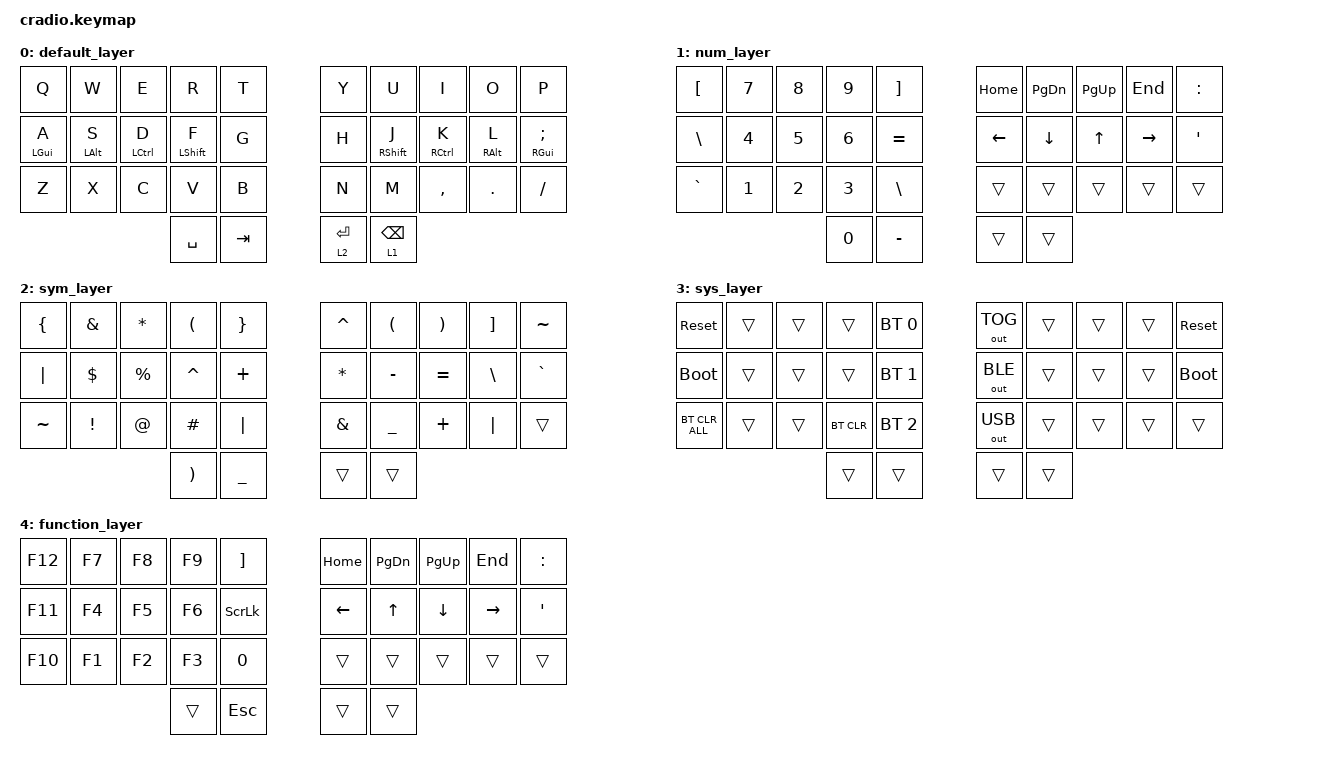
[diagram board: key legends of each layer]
// Copyright (c) 2022 The ZMK Contributors
// SPDX-License-Identifier: MIT

#include <behaviors.dtsi>
#include <dt-bindings/zmk/bt.h>
#include <dt-bindings/zmk/keys.h>
#include <dt-bindings/zmk/outputs.h>

// Layers

#define NUM_L 1
#define SYM_L 2

&lt { quick-tap-ms = <150>; };

/ {
    behaviors {
        // Left-hand home row mods — trigger only on right-hand keypress
        hml: left_hold_tap {
            compatible = "zmk,behavior-hold-tap";
            #binding-cells = <2>;
            flavor = "balanced";
            tapping-term-ms = <220>;
            quick-tap-ms = <150>;
            require-prior-idle-ms = <100>;
            bindings = <&kp>, <&kp>;
            hold-trigger-key-positions = <5 6 7 8 9 15 16 17 18 19 25 26 27 28 29 30 31 32 33>;
            hold-trigger-on-release;
        };

        // Right-hand home row mods — trigger only on left-hand keypress
        hmr: right_hold_tap {
            compatible = "zmk,behavior-hold-tap";
            #binding-cells = <2>;
            flavor = "balanced";
            tapping-term-ms = <220>;
            quick-tap-ms = <150>;
            require-prior-idle-ms = <100>;
            bindings = <&kp>, <&kp>;
            hold-trigger-key-positions = <0 1 2 3 4 10 11 12 13 14 20 21 22 23 24 30 31 32 33>;
            hold-trigger-on-release;
        };
    };

    conditional_layers {
        compatible = "zmk,conditional-layers";

        fn_layer {
            if-layers = <1 2>;
            then-layer = <4>;
        };
    };

    combos {
        compatible = "zmk,combos";

        cap_word {
            bindings = <&caps_word>;
            key-positions = <13 16>;
        };

        quote {
            bindings = <&kp SINGLE_QUOTE>;
            key-positions = <30 33>;
        };

        esc_default_layer {
            bindings = <&kp ESCAPE>;
            key-positions = <30 24>;
            layers = <0>;
        };

        lpar_sym {
            bindings = <&kp LEFT_PARENTHESIS>;
            key-positions = <30 24>;
            layers = <2>;
        };

        bt_layer {
            bindings = <&sl 3>;
            key-positions = <0 9>;
            layers = <0>;
        };

        delete {
            bindings = <&kp DELETE>;
            key-positions = <33 25>;
            layers = <0>;
        };

        prevent_accidental_quit {
            bindings = <&none>;
            key-positions = <0 10>;
            layers = <0>;
        };
    };

    keymap {
        compatible = "zmk,keymap";

        default_layer {
            bindings = <
&kp Q       &kp W       &kp E        &kp R         &kp T      &kp Y        &kp U              &kp I        &kp O            &kp P
&hml LGUI A  &hml LALT S  &hml LCTRL D  &hml LSHIFT F  &kp G      &kp H        &hmr RIGHT_SHIFT J  &hmr RCTRL K  &hmr RIGHT_ALT L  &hmr RIGHT_GUI SEMI
&kp Z       &kp X       &kp C        &kp V         &kp B      &kp N        &kp M              &kp COMMA    &kp DOT          &kp FSLH
                                     &kp SPACE     &kp TAB    &lt 2 ENTER  &lt 1 BSPC
            >;
        };

        num_layer {
            bindings = <
&kp LBKT       &kp N7  &kp N8  &kp N9        &kp RBKT         &kp HOME  &kp PG_DN  &kp PG_UP  &kp END    &kp COLON
&kp BACKSLASH  &kp N4  &kp N5  &kp N6        &kp EQUAL        &kp LEFT  &kp DOWN   &kp UP     &kp RIGHT  &kp SQT
&kp GRAVE      &kp N1  &kp N2  &kp N3        &kp BACKSLASH    &trans    &trans     &trans     &trans     &trans
                               &kp NUMBER_0  &kp MINUS        &trans    &trans
            >;
        };

        sym_layer {
            bindings = <
&kp LBRC   &kp AMPS  &kp ASTRK  &kp LPAR               &kp RBRC          &kp CARET  &kp LPAR   &kp RPAR   &kp RBKT  &kp TILDE
&kp PIPE   &kp DLLR  &kp PRCNT  &kp CARET              &kp PLUS          &kp ASTRK  &kp MINUS  &kp EQUAL  &kp BSLH  &kp GRAVE
&kp TILDE  &kp EXCL  &kp AT     &kp HASH               &kp PIPE          &kp AMPS   &kp UNDER  &kp PLUS   &kp PIPE  &trans
                                &kp RIGHT_PARENTHESIS  &kp UNDERSCORE    &trans     &trans
            >;
        };

        sys_layer {
            bindings = <
&sys_reset      &trans  &trans  &trans      &bt BT_SEL 0    &out OUT_TOG  &trans  &trans  &trans  &sys_reset
&bootloader     &trans  &trans  &trans      &bt BT_SEL 1    &out OUT_BLE  &trans  &trans  &trans  &bootloader
&bt BT_CLR_ALL  &trans  &trans  &bt BT_CLR  &bt BT_SEL 2    &out OUT_USB  &trans  &trans  &trans  &trans
                                &trans      &trans          &trans        &trans
            >;
        };

        function_layer {
            bindings = <
&kp F12  &kp F7  &kp F8  &kp F9  &kp RBKT          &kp HOME  &kp PG_DN  &kp PG_UP  &kp END    &kp COLON
&kp F11  &kp F4  &kp F5  &kp F6  &kp SCROLLLOCK    &kp LEFT  &kp UP     &kp DOWN   &kp RIGHT  &kp SQT
&kp F10  &kp F1  &kp F2  &kp F3  &kp N0            &trans    &trans     &trans     &trans     &trans
                         &trans  &kp ESC           &trans    &trans
            >;
        };
    };
};
